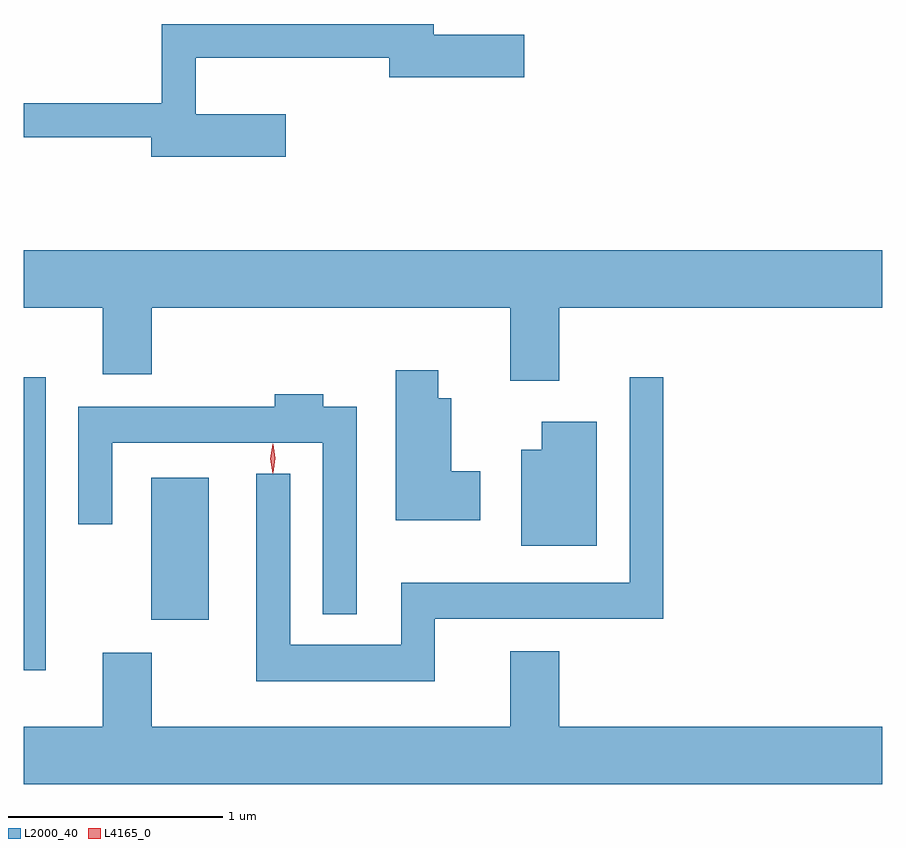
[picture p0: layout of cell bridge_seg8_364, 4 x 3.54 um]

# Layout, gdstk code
import gdstk
lib = gdstk.Library(unit=1e-6, precision=1e-09)
def R(c, l, rs):  # rectangles x0, y0, x1, y1
    for r in rs: c.add(gdstk.rectangle(r[:2], r[2:], *l))
def P(c, l, *ps):  # polygons
    for p in ps: c.add(gdstk.Polygon(p, *l))
L2000_40 = (2000, 40)
L4165_0 = (4165, 0)

bridge_seg8_364 = lib.new_cell('bridge_seg8_364')
R(bridge_seg8_364, L2000_40, [(739.333,1919.086,739.434,1920.453), (739.926,1919.321,740.194,1919.984)])
P(bridge_seg8_364, L2000_40, [(740.554,1921.679),(740.134,1921.679),(740.134,1921.941),(741.036,1921.941),(741.036,1921.851),(741.664,1921.851),(741.664,1922.049),(741.244,1922.049),(741.244,1922.099),(739.976,1922.099),(739.976,1921.729),(739.333,1921.729),(739.333,1921.571),(739.926,1921.571),(739.926,1921.481),(740.554,1921.481)],
  [(739.333,1920.776),(739.701,1920.776),(739.701,1920.466),(739.929,1920.466),(739.929,1920.776),(741.601,1920.776),(741.601,1920.436),(741.829,1920.436),(741.829,1920.776),(743.333,1920.776),(743.333,1921.044),(739.333,1921.044)],
  [(741.459,1920.014),(741.324,1920.014),(741.324,1920.354),(741.264,1920.354),(741.264,1920.484),(741.066,1920.484),(741.066,1919.786),(741.459,1919.786)],
  [(741.249,1919.326),(742.314,1919.326),(742.314,1920.453),(742.156,1920.453),(742.156,1919.494),(741.091,1919.494),(741.091,1919.204),(740.574,1919.204),(740.574,1920.003),(740.416,1920.003),(740.416,1919.036),(741.249,1919.036)],
  [(740.884,1920.314),(740.729,1920.314),(740.729,1920.374),(740.501,1920.374),(740.501,1920.314),(739.586,1920.314),(739.586,1919.768),(739.744,1919.768),(739.744,1920.146),(740.726,1920.146),(740.726,1919.348),(740.884,1919.348)],
  [(742.004,1920.244),(741.746,1920.244),(741.746,1920.114),(741.651,1920.114),(741.651,1919.666),(742.004,1919.666)],
  [(743.333,1918.824),(741.829,1918.824),(741.829,1919.174),(741.601,1919.174),(741.601,1918.824),(739.929,1918.824),(739.929,1919.169),(739.701,1919.169),(739.701,1918.824),(739.333,1918.824),(739.333,1918.556),(743.333,1918.556)])
P(bridge_seg8_364, L4165_0, [(740.494,1920.007),(740.485,1920.074),(740.494,1920.14),(740.495,1920.14),(740.495,1920.14),(740.505,1920.074),(740.495,1920.007),(740.495,1920.007)],
  [(740.492,1920.003),(740.492,1920.004),(740.482,1920.073),(740.492,1920.142),(740.492,1920.143),(740.493,1920.142),(740.502,1920.073),(740.493,1920.004)])

lib.write_gds('bridge_seg8_364.gds')
